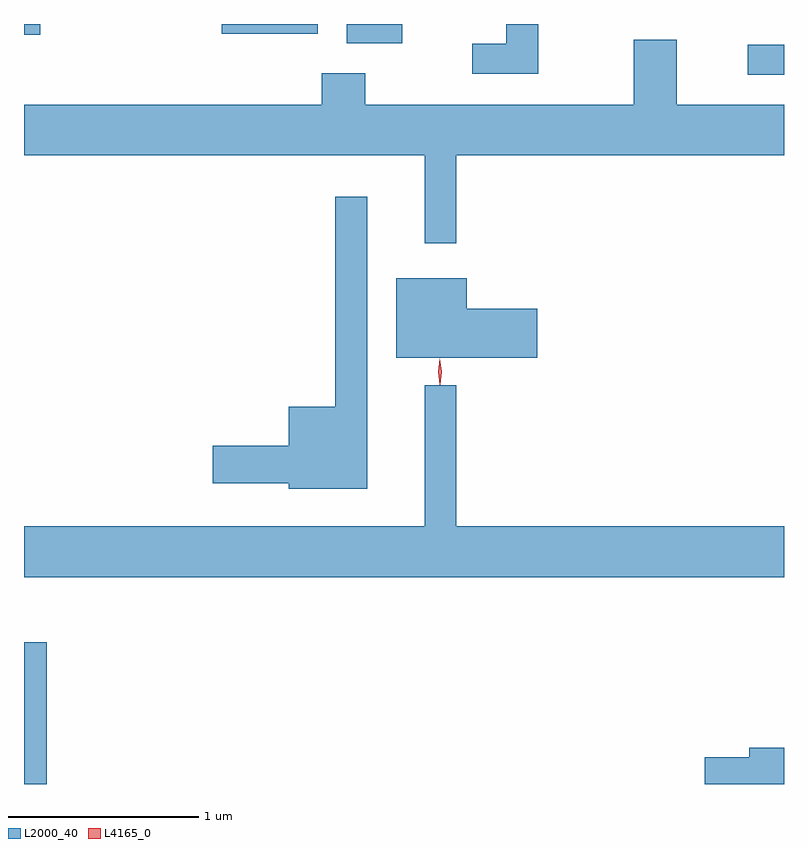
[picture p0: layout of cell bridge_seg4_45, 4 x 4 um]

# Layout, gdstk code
import gdstk
lib = gdstk.Library(unit=1e-6, precision=1e-09)
def R(c, l, rs):  # rectangles x0, y0, x1, y1
    for r in rs: c.add(gdstk.rectangle(r[:2], r[2:], *l))
def P(c, l, *ps):  # polygons
    for p in ps: c.add(gdstk.Polygon(p, *l))
L2000_40 = (2000, 40)
L4165_0 = (4165, 0)

bridge_seg4_45 = lib.new_cell('bridge_seg4_45')
R(bridge_seg4_45, L2000_40, [(1314.653,1353.588,1314.774,1354.334), (1318.463,1357.321,1318.653,1357.479), (1316.351,1357.486,1316.644,1357.588), (1314.653,1357.531,1314.739,1357.588), (1315.693,1357.536,1316.199,1357.588)])
P(bridge_seg4_45, L2000_40, [(1317.359,1357.588),(1317.191,1357.588),(1317.191,1357.484),(1317.013,1357.484),(1317.013,1357.326),(1317.359,1357.326)],
  [(1316.929,1356.896),(1318.653,1356.896),(1318.653,1357.164),(1318.089,1357.164),(1318.089,1357.504),(1317.861,1357.504),(1317.861,1357.164),(1316.449,1357.164),(1316.449,1357.329),(1316.221,1357.329),(1316.221,1357.164),(1314.653,1357.164),(1314.653,1356.896),(1316.761,1356.896),(1316.761,1356.433),(1316.929,1356.433)],
  [(1316.459,1356.678),(1316.291,1356.678),(1316.291,1355.574),(1316.046,1355.574),(1316.046,1355.369),(1315.646,1355.369),(1315.646,1355.171),(1316.046,1355.171),(1316.046,1355.141),(1316.459,1355.141)],
  [(1317.354,1356.089),(1316.984,1356.089),(1316.984,1356.249),(1316.611,1356.249),(1316.611,1355.831),(1317.354,1355.831)],
  [(1318.653,1354.944),(1316.929,1354.944),(1316.929,1355.688),(1316.761,1355.688),(1316.761,1354.944),(1314.653,1354.944),(1314.653,1354.676),(1318.653,1354.676)],
  [(1318.653,1353.779),(1318.471,1353.779),(1318.471,1353.729),(1318.236,1353.729),(1318.236,1353.588),(1318.653,1353.588)])
P(bridge_seg4_45, L4165_0, [(1316.842,1355.69),(1316.832,1355.758),(1316.841,1355.825),(1316.842,1355.826),(1316.842,1355.825),(1316.852,1355.758),(1316.843,1355.69),(1316.843,1355.69)],
  [(1316.843,1355.693),(1316.842,1355.694),(1316.832,1355.756),(1316.841,1355.819),(1316.841,1355.82),(1316.842,1355.819),(1316.852,1355.756),(1316.843,1355.694)])

lib.write_gds('bridge_seg4_45.gds')
